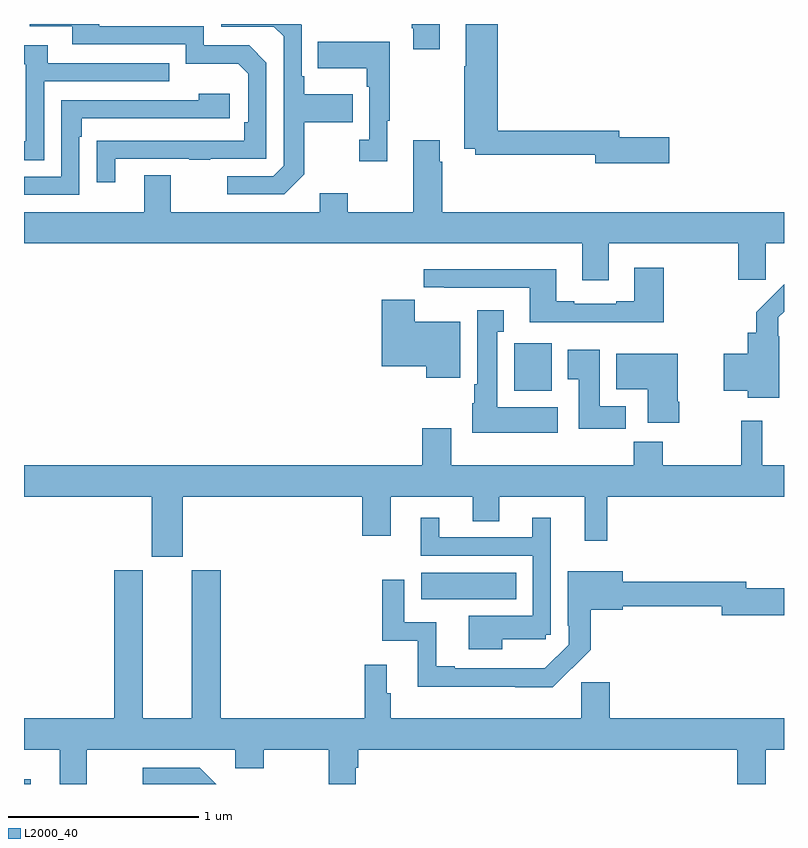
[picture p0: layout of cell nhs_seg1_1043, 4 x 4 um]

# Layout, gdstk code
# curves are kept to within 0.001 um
import gdstk
lib = gdstk.Library(unit=1e-6, precision=1e-09)
def R(c, l, rs):  # rectangles x0, y0, x1, y1
    for r in rs: c.add(gdstk.rectangle(r[:2], r[2:], *l))
def P(c, l, *ps):  # polygons
    for p in ps: c.add(gdstk.Polygon(p, *l))
L2000_40 = (2000, 40)

nhs_seg1_1043 = lib.new_cell('nhs_seg1_1043')
R(nhs_seg1_1043, L2000_40, [(167,570.199,167.035,570.223), (169.092,571.172,169.592,571.312), (169.581,572.27,169.777,572.52)])
P(nhs_seg1_1043, L2000_40, [(169.189,574.199),(169.042,574.199),(169.042,574.177),(169.049,574.177),(169.049,574.065),(169.189,574.065)],
  [(170.395,573.602),(170.134,573.602),(170.134,573.638),(169.493,573.638),(169.493,574.199),(169.325,574.199),(169.325,573.977),(169.318,573.977),(169.318,573.542),(169.374,573.542),(169.374,573.51),(170.006,573.51),(170.006,573.467),(170.395,573.467)],
  [(167.479,573.489),(167.869,573.489),(167.869,573.484),(167.981,573.484),(167.981,573.489),(168.276,573.489),(168.276,573.996),(168.186,574.086),(167.946,574.086),(167.946,574.188),(167.395,574.188),(167.395,574.199),(167.031,574.199),(167.031,574.188),(167.255,574.188),(167.255,574.092),(167.85,574.092),(167.85,573.989),(168.127,573.989),(168.18,573.936),(168.18,573.682),(168.16,573.682),(168.16,573.585),(167.383,573.584),(167.383,573.366),(167.479,573.366)],
  [(168.475,573.409),(168.475,573.682),(168.731,573.682),(168.731,573.829),(168.475,573.829),(168.475,573.925),(168.462,573.925),(168.462,574.194),(168.457,574.199),(168.039,574.199),(168.039,574.185),(168.315,574.185),(168.366,574.134),(168.366,573.453),(168.312,573.399),(168.069,573.399),(168.069,573.303),(168.369,573.303)],
  [(168.913,573.689),(168.925,573.689),(168.925,574.105),(168.547,574.105),(168.547,573.965),(168.804,573.965),(168.804,573.869),(168.816,573.869),(168.816,573.59),(168.765,573.59),(168.765,573.477),(168.913,573.477)],
  [(167.106,573.897),(167.765,573.897),(167.765,573.993),(167.125,573.993),(167.125,574.087),(167,574.087),(167,573.987),(167.01,573.987),(167.01,573.582),(167,573.582),(167,573.481),(167.106,573.481)],
  [(167.292,573.605),(167.305,573.605),(167.305,573.702),(168.082,573.702),(168.082,573.832),(167.921,573.832),(167.921,573.798),(167.196,573.798),(167.196,573.396),(167,573.396),(167,573.3),(167.292,573.3)],
  [(170.077,573.044),(170.758,573.044),(170.758,572.853),(170.903,572.853),(170.903,573.044),(171,573.044),(171,573.208),(169.202,573.208),(169.202,573.473),(169.189,573.473),(169.189,573.586),(169.049,573.586),(169.049,573.208),(168.705,573.208),(168.705,573.307),(168.557,573.307),(168.557,573.208),(167.773,573.208),(167.773,573.403),(167.633,573.403),(167.633,573.208),(167,573.208),(167,573.044),(169.937,573.044),(169.937,572.85),(170.077,572.85)],
  [(170.366,572.917),(170.213,572.917),(170.213,572.74),(170.117,572.74),(170.117,572.727),(169.897,572.727),(169.897,572.74),(169.801,572.74),(169.801,572.908),(169.104,572.908),(169.104,572.813),(169.213,572.813),(169.213,572.811),(169.661,572.811),(169.661,572.63),(170.366,572.63)],
  [(170.974,572.555),(170.97,572.555),(170.97,572.655),(171,572.685),(171,572.829),(170.855,572.683),(170.855,572.575),(170.809,572.575),(170.809,572.464),(170.684,572.464),(170.684,572.27),(170.809,572.27),(170.809,572.231),(170.974,572.231)],
  [(169.297,572.632),(169.057,572.632),(169.057,572.748),(168.884,572.748),(168.884,572.399),(169.118,572.399),(169.118,572.336),(169.297,572.336)],
  [(169.81,572.182),(169.492,572.182),(169.492,572.579),(169.525,572.579),(169.525,572.692),(169.385,572.692),(169.385,572.302),(169.37,572.302),(169.37,572.202),(169.358,572.202),(169.358,572.048),(169.81,572.048)],
  [(170.168,572.188),(170.029,572.188),(170.029,572.485),(169.862,572.485),(169.862,572.329),(169.919,572.329),(169.919,572.07),(170.168,572.07)],
  [(170.448,572.212),(170.44,572.212),(170.44,572.464),(170.117,572.464),(170.117,572.276),(170.282,572.276),(170.282,572.1),(170.448,572.1)],
  [(167.836,571.712),(168.779,571.712),(168.779,571.506),(168.931,571.506),(168.931,571.712),(169.361,571.712),(169.361,571.582),(169.501,571.582),(169.501,571.712),(169.952,571.712),(169.952,571.479),(170.069,571.479),(170.069,571.712),(171,571.712),(171,571.876),(170.885,571.876),(170.885,572.11),(170.775,572.11),(170.775,571.876),(170.361,571.876),(170.361,572),(170.209,572),(170.209,571.876),(169.249,571.876),(169.249,572.071),(169.097,572.071),(169.097,571.876),(167,571.876),(167,571.712),(167.672,571.712),(167.672,571.395),(167.836,571.395)],
  [(169.516,570.962),(169.746,570.962),(169.746,570.984),(169.773,570.984),(169.773,571.6),(169.676,571.6),(169.676,571.497),(169.186,571.497),(169.186,571.6),(169.088,571.6),(169.088,571.401),(169.677,571.401),(169.677,571.084),(169.34,571.084),(169.34,570.908),(169.516,570.908)],
  [(167.329,570.38),(168.113,570.38),(168.113,570.281),(168.261,570.281),(168.261,570.38),(168.605,570.38),(168.605,570.199),(168.745,570.199),(168.745,570.284),(168.758,570.284),(168.758,570.38),(170.753,570.38),(170.753,570.199),(170.903,570.199),(170.903,570.38),(171,570.38),(171,570.544),(170.084,570.544),(170.084,570.735),(169.933,570.735),(169.933,570.544),(168.929,570.544),(168.929,570.677),(168.91,570.677),(168.91,570.826),(168.793,570.826),(168.793,570.544),(168.035,570.544),(168.035,571.323),(167.882,571.323),(167.882,570.544),(167.626,570.544),(167.626,571.323),(167.474,571.323),(167.474,570.544),(167,570.544),(167,570.38),(167.189,570.38),(167.189,570.199),(167.329,570.199)],
  [(169.982,570.905),(169.982,571.117),(170.152,571.117),(170.152,571.135),(170.672,571.135),(170.672,571.088),(171,571.088),(171,571.23),(170.8,571.23),(170.8,571.264),(170.152,571.264),(170.152,571.318),(169.863,571.318),(169.863,571.033),(169.866,571.033),(169.866,570.933),(169.741,570.808),(169.267,570.807),(169.267,570.82),(169.171,570.82),(169.171,571.05),(169.002,571.05),(169.002,571.273),(168.886,571.273),(168.886,570.954),(169.073,570.954),(169.073,570.71),(169.585,570.71),(169.585,570.708),(169.784,570.708)],
  [(167.925,570.285),(167.625,570.285),(167.625,570.199),(168.011,570.199)])

lib.write_gds('nhs_seg1_1043.gds')
